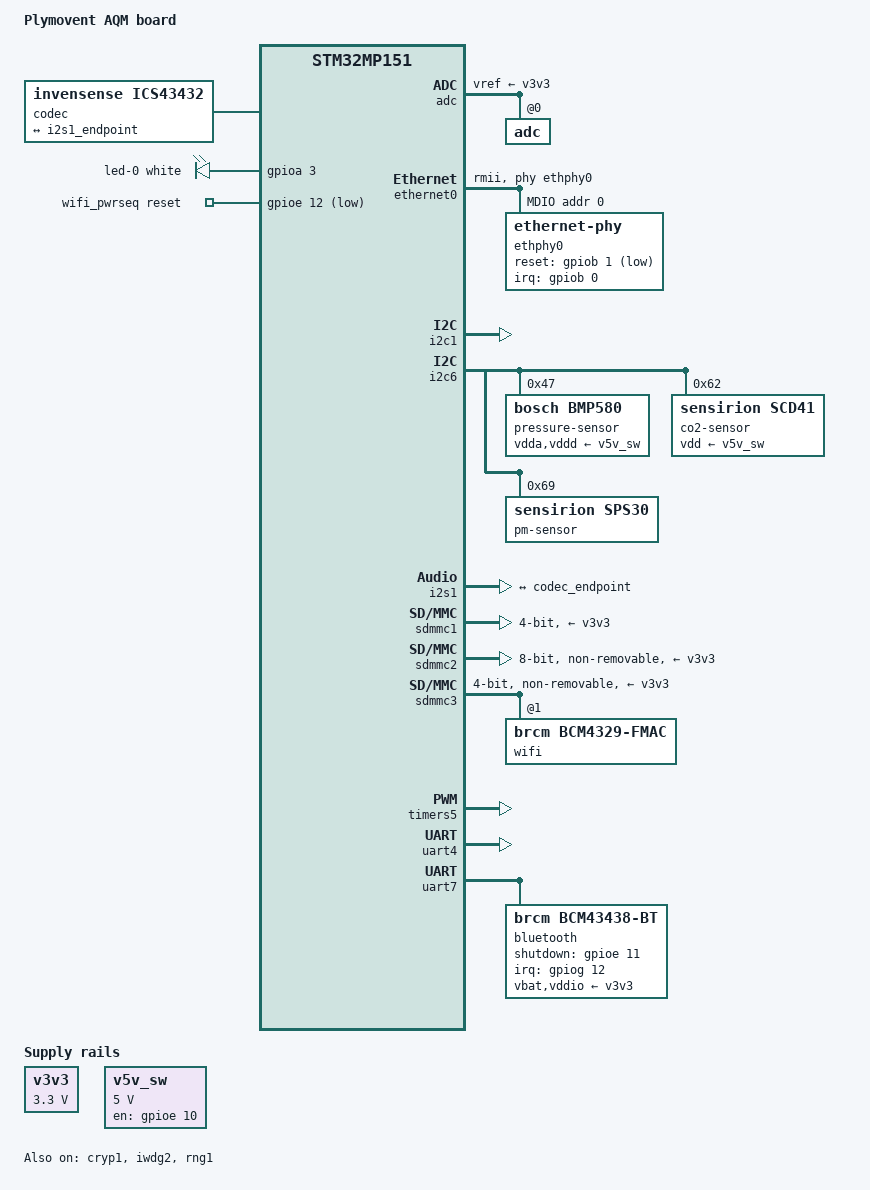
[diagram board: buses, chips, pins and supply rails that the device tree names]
// SPDX-License-Identifier: (GPL-2.0+ OR BSD-3-Clause)
/dts-v1/;

#include <arm/st/stm32mp151.dtsi>
#include <arm/st/stm32mp15xc.dtsi>
#include <arm/st/stm32mp15-pinctrl.dtsi>
#include <arm/st/stm32mp15xxad-pinctrl.dtsi>
#include <arm/st/stm32mp15-scmi.dtsi>
#include <dt-bindings/gpio/gpio.h>
#include <dt-bindings/leds/common.h>

/ {
	model = "Plymovent AQM board";
	compatible = "ply,plyaqm", "st,stm32mp151";

	aliases {
		ethernet0 = &ethernet0;
		serial0 = &uart4;
		serial1 = &uart7;
	};

	codec {
		compatible = "invensense,ics43432";

		port {
			codec_endpoint: endpoint {
				remote-endpoint = <&i2s1_endpoint>;
				dai-format = "i2s";
			};
		};
	};

	firmware {
		optee {
			compatible = "linaro,optee-tz";
			method = "smc";
		};
	};

	leds {
		compatible = "gpio-leds";

		led-0 {
			gpios = <&gpioa 3 GPIO_ACTIVE_HIGH>; /* WHITE_EN */
			color = <LED_COLOR_ID_WHITE>;
			default-state = "on";
		};
	};

	v3v3: fixed-regulator-v3v3 {
		compatible = "regulator-fixed";
		regulator-name = "v3v3";
		regulator-min-microvolt = <3300000>;
		regulator-max-microvolt = <3300000>;
	};

	v5v_sw: fixed-regulator-v5sw {
		compatible = "regulator-fixed";
		regulator-name = "5v-switched";
		regulator-min-microvolt = <5000000>;
		regulator-max-microvolt = <5000000>;
		gpio = <&gpioe 10 GPIO_ACTIVE_HIGH>; /* 5V_SWITCHED_EN */
		startup-delay-us = <100000>;
		enable-active-high;
		regulator-boot-on;
	};

	reserved-memory {
		#address-cells = <1>;
		#size-cells = <1>;
		ranges;

		optee@cfd00000 {
			reg = <0xcfd00000 0x300000>;
			no-map;
		};
	};

	sound {
		compatible = "audio-graph-card";
		label = "STM32MP15";
		dais = <&i2s1_port>;
	};

	wifi_pwrseq: wifi-pwrseq {
		compatible = "mmc-pwrseq-simple";
		reset-gpios = <&gpioe 12 GPIO_ACTIVE_LOW>; /* WLAN_REG_ON */
	};
};

&adc {
	pinctrl-names = "default";
	pinctrl-0 = <&adc1_in10_pins_a>;
	vdda-supply = <&v3v3>;
	vref-supply = <&v3v3>;
	status = "okay";

	adc@0 {
		#address-cells = <1>;
		#size-cells = <0>;
		status = "okay";

		channel@10 { /* NTC */
			reg = <10>;
			st,min-sample-time-ns = <10000>;  /* 10µs sampling time */
		};
	};
};

&cpu0 {
	clocks = <&scmi_clk CK_SCMI_MPU>;
};

&cryp1 {
	clocks = <&scmi_clk CK_SCMI_CRYP1>;
	resets = <&scmi_reset RST_SCMI_CRYP1>;
	status = "okay";
};

&ethernet0 {
	pinctrl-names = "default", "sleep";
	pinctrl-0 = <&ethernet0_rmii_pins_d>;
	pinctrl-1 = <&ethernet0_rmii_sleep_pins_d>;
	phy-mode = "rmii";
	max-speed = <100>;
	phy-handle = <&ethphy0>;
	status = "okay";

	mdio {
		#address-cells = <1>;
		#size-cells = <0>;
		compatible = "snps,dwmac-mdio";

		/* KSZ8081RNA PHY */
		ethphy0: ethernet-phy@0 {
			reg = <0>;
			interrupts-extended = <&gpiob 0 IRQ_TYPE_LEVEL_LOW>;
			reset-gpios = <&gpiob 1 GPIO_ACTIVE_LOW>;
			reset-assert-us = <10000>;
			reset-deassert-us = <300>;
		};
	};
};

&gpioa {
	gpio-line-names =
		"", "", "", "", "", "", "", "",
		"", "", "", "", "", "HWID_PL_N", "HWID_CP", "";
};

&gpiob {
	gpio-line-names =
		"", "", "", "", "", "", "LED_LATCH", "",
		"", "RELAY1_EN", "", "", "", "", "", "";
};

&gpioc {
	gpio-line-names =
		"", "", "", "", "", "", "", "",
		"", "", "", "", "", "HWID_Q7", "", "";
};

&gpioe {
	gpio-line-names =
		"", "", "", "", "RELAY2_EN", "", "", "",
		"", "", "", "", "", "", "", "";
};

&gpiog {
	gpio-line-names =
		"", "", "", "", "", "", "", "SW1",
		"", "", "", "", "", "", "", "";
};

&gpioz {
	clocks = <&scmi_clk CK_SCMI_GPIOZ>;
};

&hash1 {
	clocks = <&scmi_clk CK_SCMI_HASH1>;
	resets = <&scmi_reset RST_SCMI_HASH1>;
};

&i2c1 {
	pinctrl-names = "default", "sleep";
	pinctrl-0 = <&i2c1_pins_c>;
	pinctrl-1 = <&i2c1_sleep_pins_c>;
	i2c-scl-rising-time-ns = <185>;
	i2c-scl-falling-time-ns = <20>;
	status = "okay";
	/delete-property/dmas;
	/delete-property/dma-names;
};

&i2c4 {
	clocks = <&scmi_clk CK_SCMI_I2C4>;
	resets = <&scmi_reset RST_SCMI_I2C4>;
};

&i2c6 {
	pinctrl-names = "default", "sleep";
	pinctrl-0 = <&i2c6_pins_b>;
	pinctrl-1 = <&i2c6_sleep_pins_b>;
	i2c-scl-rising-time-ns = <185>;
	i2c-scl-falling-time-ns = <20>;
	clocks = <&scmi_clk CK_SCMI_I2C6>;
	resets = <&scmi_reset RST_SCMI_I2C6>;
	status = "okay";
	/delete-property/dmas;
	/delete-property/dma-names;

	pressure-sensor@47 {
		compatible = "bosch,bmp580";
		reg = <0x47>;
		vdda-supply = <&v5v_sw>;
		vddd-supply = <&v5v_sw>;
	};

	co2-sensor@62 {
		compatible = "sensirion,scd41";
		reg = <0x62>;
		vdd-supply = <&v5v_sw>;
	};

	pm-sensor@69 {
		compatible = "sensirion,sps30";
		reg = <0x69>;
	};
};

&i2s1 {
	pinctrl-names = "default", "sleep";
	pinctrl-0 = <&i2s1_pins_a>;
	pinctrl-1 = <&i2s1_sleep_pins_a>;
	clocks = <&rcc SPI1>, <&rcc SPI1_K>, <&rcc PLL3_Q>, <&rcc PLL3_R>;
	clock-names = "pclk", "i2sclk", "x8k", "x11k";
	#clock-cells = <0>; /* Set I2S2 as master clock provider */
	status = "okay";

	i2s1_port: port {
		i2s1_endpoint: endpoint {
			format = "i2s";
			mclk-fs = <256>;
			remote-endpoint = <&codec_endpoint>;
		};
	};
};

&iwdg2 {
	clocks = <&rcc IWDG2>, <&scmi_clk CK_SCMI_LSI>;
	status = "okay";
};

&m4_rproc {
	/delete-property/ st,syscfg-holdboot;
	resets = <&scmi_reset RST_SCMI_MCU>,
		 <&scmi_reset RST_SCMI_MCU_HOLD_BOOT>;
	reset-names =  "mcu_rst", "hold_boot";
};

&mdma1 {
	resets = <&scmi_reset RST_SCMI_MDMA>;
};

&rcc {
	compatible = "st,stm32mp1-rcc-secure", "syscon";
	clock-names = "hse", "hsi", "csi", "lse", "lsi";
	clocks = <&scmi_clk CK_SCMI_HSE>,
		 <&scmi_clk CK_SCMI_HSI>,
		 <&scmi_clk CK_SCMI_CSI>,
		 <&scmi_clk CK_SCMI_LSE>,
		 <&scmi_clk CK_SCMI_LSI>;
};

&rng1 {
	clocks = <&scmi_clk CK_SCMI_RNG1>;
	resets = <&scmi_reset RST_SCMI_RNG1>;
	status = "okay";
};

&rtc {
	clocks = <&scmi_clk CK_SCMI_RTCAPB>, <&scmi_clk CK_SCMI_RTC>;
};

/* SD card without Card-detect */
&sdmmc1 {
	pinctrl-names = "default", "opendrain", "sleep";
	pinctrl-0 = <&sdmmc1_b4_pins_a>;
	pinctrl-1 = <&sdmmc1_b4_od_pins_a>;
	pinctrl-2 = <&sdmmc1_b4_sleep_pins_a>;
	broken-cd;
	no-sdio;
	no-1-8-v;
	st,neg-edge;
	bus-width = <4>;
	vmmc-supply = <&v3v3>;
	status = "okay";
};

/* EMMC */
&sdmmc2 {
	pinctrl-names = "default", "opendrain", "sleep";
	pinctrl-0 = <&sdmmc2_b4_pins_c &sdmmc2_d47_pins_b>;
	pinctrl-1 = <&sdmmc2_b4_od_pins_c &sdmmc2_d47_pins_b>;
	pinctrl-2 = <&sdmmc2_b4_sleep_pins_c &sdmmc2_d47_sleep_pins_b>;
	non-removable;
	no-sd;
	no-sdio;
	no-1-8-v;
	st,neg-edge;
	bus-width = <8>;
	vmmc-supply = <&v3v3>;
	status = "okay";
};

/* Wifi */
&sdmmc3 {
	pinctrl-names = "default", "opendrain", "sleep";
	pinctrl-0 = <&sdmmc3_b4_pins_c>;
	pinctrl-1 = <&sdmmc3_b4_od_pins_c>;
	pinctrl-2 = <&sdmmc3_b4_sleep_pins_c>;
	non-removable;
	st,neg-edge;
	bus-width = <4>;
	vmmc-supply = <&v3v3>;
	mmc-pwrseq = <&wifi_pwrseq>;
	#address-cells = <1>;
	#size-cells = <0>;
	status = "okay";

	wifi@1 {
		reg = <1>;
		compatible = "brcm,bcm4329-fmac";
	};
};

&timers5 {
	status = "okay";
	/delete-property/dmas;
	/delete-property/dma-names;

	pwm {
		pinctrl-0 = <&pwm1_pins_d>;
		pinctrl-1 = <&pwm1_sleep_pins_d>;
		pinctrl-names = "default", "sleep";
		status = "okay";
	};
};

&uart4 {
	pinctrl-names = "default", "sleep", "idle";
	pinctrl-0 = <&uart4_pins_e>;
	pinctrl-1 = <&uart4_idle_pins_e>;
	pinctrl-2 = <&uart4_sleep_pins_e>;
	/delete-property/dmas;
	/delete-property/dma-names;
	status = "okay";
};

&uart7 {
	pinctrl-names = "default";
	pinctrl-0 = <&uart7_pins_d>;
	uart-has-rtscts;
	status = "okay";

	bluetooth {
		compatible = "brcm,bcm43438-bt";
		shutdown-gpios = <&gpioe 11 GPIO_ACTIVE_HIGH>; /* BT_REG_ON */
		max-speed = <4000000>;
		vbat-supply = <&v3v3>;
		vddio-supply = <&v3v3>;
		interrupt-parent = <&gpiog>;
		interrupts = <12 IRQ_TYPE_EDGE_RISING>; /* BT_HOST_WAKE */
		interrupt-names = "host-wakeup";
	};
};
